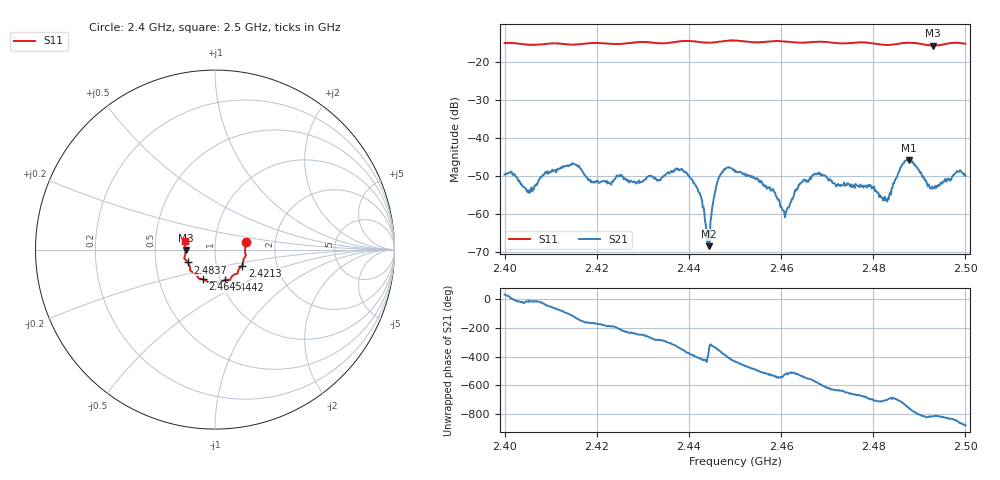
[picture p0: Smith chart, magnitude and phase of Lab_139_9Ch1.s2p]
# Hz S RI R 50
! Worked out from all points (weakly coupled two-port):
!   601 points, 2.4 GHz to 2.5 GHz, reference 50 ohm
!   highest |S21| = -45.78 dB at 2.4877 GHz (marker M1); lowest = -68.4 dB at 2.4443 GHz (marker M2)
!   lowest |S11| = -15.7 dB at 2.493 GHz (marker M3), VSWR 1.39, Z = 35.9 - j0.222 ohm
!   |S11| at or under -10 dB: start of sweep to end of sweep
!   S12 and S22 are empty: the file has one direction only
!   S11 on the Smith chart (normalised r, x): 2.4 GHz: 1.41, +0.12; 2.4213 GHz: 1.33, -0.25; 2.4442 GHz: 1.05, -0.37; 2.4645 GHz: 0.83, -0.29; 2.4837 GHz: 0.73, -0.11; 2.5 GHz: 0.71, +0.07
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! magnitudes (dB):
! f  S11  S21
! 2.4 GHz  -15.1  -49.6
! 2.4052 GHz  -15.5  -54.4
! 2.4088 GHz  -15.3  -49.0
! 2.4167 GHz  -15.3  -48.4
! 2.4213 GHz  -15.1  -51.4
! 2.4333 GHz  -15.1  -51.1
! 2.4397 GHz  -14.5  -49.6
! 2.4423 GHz  -14.8  -54.5
! 2.4442 GHz  -15.0  -67.1
! 2.4443 GHz  -15.0  -68.4
! 2.4455 GHz  -14.9  -55.3
! 2.4465 GHz  -14.7  -50.4
! 2.45 GHz  -14.4  -48.9
! 2.458 GHz  -14.6  -53.8
! 2.4607 GHz  -14.6  -59.3
! 2.4645 GHz  -15.0  -51.7
! 2.4667 GHz  -14.8  -50.0
! 2.4833 GHz  -15.6  -56.2
! 2.4837 GHz  -15.5  -54.3
! 2.4877 GHz  -15.0  -45.8
! 2.493 GHz  -15.7  -53.3
! 2.5 GHz  -15.2  -50.0
